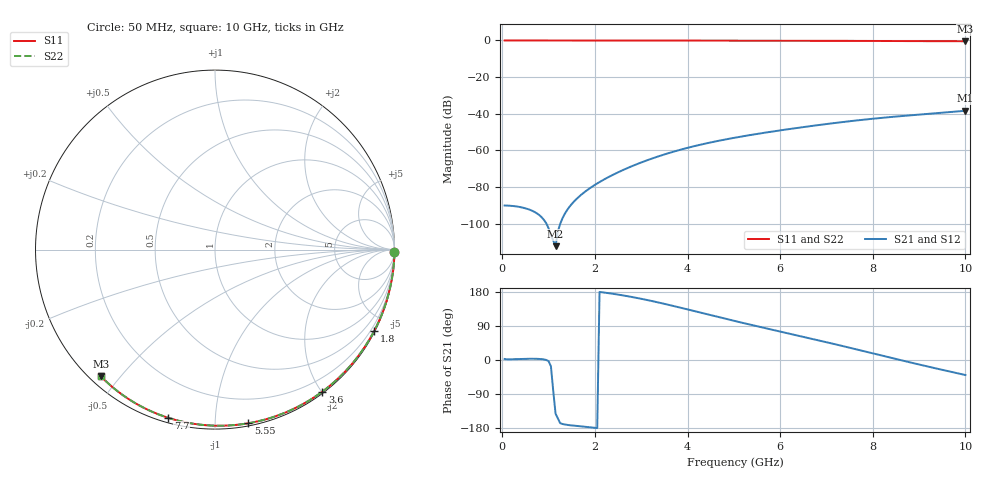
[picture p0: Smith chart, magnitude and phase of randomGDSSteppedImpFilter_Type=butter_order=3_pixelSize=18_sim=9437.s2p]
! freq	dB(S11)	phase(S11)	dB(S12)	phase(S12)
!  dB(S21)	phase(S21)	dB(S22)	phase(S22)
!S-par simulation data
#  GHz  S  DB  R 50
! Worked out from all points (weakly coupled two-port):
!   200 points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, 50 MHz to 10 GHz, reference 50 ohm
!   highest |S21| = -38.40 dB at 10 GHz (marker M1); lowest = -112.3 dB at 1.15 GHz (marker M2)
!   lowest |S11| = -0.4 dB at 10 GHz (marker M3), VSWR 38.96, Z = 1.54 - j22.2 ohm
!   |S11| at or under -10 dB: nowhere
!   |S22| runs from -0.4 to 0.0 dB; largest |S21 - S12| = 0
!   S11 on the Smith chart (normalised r, x): 50 MHz: open; 1.8 GHz: 0.04, -4.15; 3.6 GHz: 0.02, -2.01; 5.55 GHz: 0.02, -1.21; 7.7 GHz: 0.02, -0.76; 10 GHz: 0.03, -0.44
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0.05  -0.00 -0.8  -90.10 2.7  -90.10 2.7  -0.00 -0.8
0.6  -0.01 -9.1  -92.49 3.3  -92.49 3.3  -0.01 -9.1
1.15  -0.02 -17.4  -112.31 -141.5  -112.31 -141.5  -0.02 -17.4
1.75  -0.03 -26.3  -83.29 -175.7  -83.29 -175.7  -0.03 -26.3
1.8  -0.03 -27.1  -82.31 -176.3  -82.31 -176.3  -0.03 -27.1
1.9  -0.04 -28.6  -80.50 -177.6  -80.50 -177.6  -0.04 -28.6
1.95  -0.04 -29.3  -79.65 -178.3  -79.65 -178.3  -0.04 -29.3
2.25  -0.04 -33.7  -75.16 177.2  -75.16 177.2  -0.04 -33.7
2.55  -0.05 -38.0  -71.39 171.6  -71.39 171.6  -0.05 -38.0
2.95  -0.06 -43.8  -67.10 162.8  -67.10 162.8  -0.06 -43.8
3.4  -0.07 -50.2  -63.03 151.0  -63.03 151.0  -0.07 -50.2
3.6  -0.07 -53.0  -61.44 145.4  -61.44 145.4  -0.07 -53.0
3.9  -0.08 -57.1  -59.29 136.5  -59.29 136.5  -0.08 -57.1
4.3  -0.09 -62.6  -56.78 124.4  -56.78 124.4  -0.09 -62.6
5.05  -0.11 -72.6  -52.96 102.0  -52.96 102.0  -0.11 -72.6
5.55  -0.13 -79.1  -50.83 87.7  -50.83 87.7  -0.13 -79.1
6.1  -0.15 -86.1  -48.72 72.3  -48.72 72.3  -0.15 -86.1
6.7  -0.18 -93.5  -46.61 55.5  -46.61 55.5  -0.18 -93.5
7.7  -0.24 -105.6  -43.53 26.5  -43.53 26.5  -0.24 -105.6
8.35  -0.29 -113.2  -41.88 7.1  -41.88 7.1  -0.29 -113.2
9.15  -0.36 -122.5  -40.18 -16.2  -40.18 -16.2  -0.36 -122.5
10  -0.45 -132.1  -38.40 -39.6  -38.40 -39.6  -0.45 -132.1
